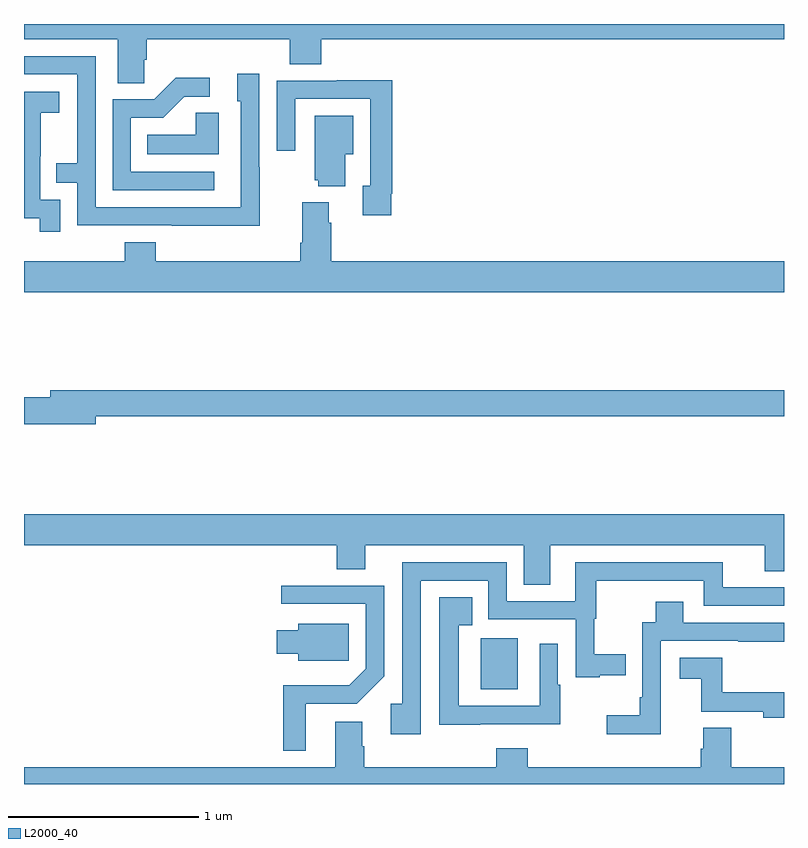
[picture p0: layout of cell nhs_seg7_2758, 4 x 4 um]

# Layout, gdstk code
import gdstk
lib = gdstk.Library(unit=1e-6, precision=1e-09)
def R(c, l, rs):  # rectangles x0, y0, x1, y1
    for r in rs: c.add(gdstk.rectangle(r[:2], r[2:], *l))
def P(c, l, *ps):  # polygons
    for p in ps: c.add(gdstk.Polygon(p, *l))
L2000_40 = (2000, 40)

nhs_seg7_2758 = lib.new_cell('nhs_seg7_2758')
R(nhs_seg7_2758, L2000_40, [(291.404,1026.5,291.598,1026.768)])
P(nhs_seg7_2758, L2000_40, [(289.632,1029.811),(289.646,1029.811),(289.646,1029.92),(290.399,1029.92),(290.399,1029.787),(290.564,1029.787),(290.564,1029.92),(293,1029.92),(293,1030),(289,1030),(289,1029.92),(289.493,1029.92),(289.493,1029.688),(289.632,1029.688)],
  [(290.241,1029.245),(290.238,1029.245),(290.238,1029.739),(290.123,1029.739),(290.123,1029.594),(290.142,1029.594),(290.142,1029.036),(289.377,1029.036),(289.377,1029.831),(289,1029.831),(289,1029.735),(289.281,1029.735),(289.281,1029.266),(289.171,1029.266),(289.171,1029.165),(289.281,1029.165),(289.281,1028.94),(289.777,1028.94),(289.777,1028.939),(290.241,1028.939)],
  [(290.002,1029.222),(289.563,1029.222),(289.563,1029.507),(289.732,1029.507),(289.843,1029.618),(289.978,1029.618),(289.978,1029.716),(289.799,1029.716),(289.686,1029.603),(289.467,1029.603),(289.467,1029.126),(290.002,1029.126)],
  [(290.932,1029.106),(290.939,1029.106),(290.939,1029.704),(290.647,1029.704),(290.647,1029.702),(290.331,1029.702),(290.331,1029.333),(290.427,1029.333),(290.427,1029.606),(290.823,1029.606),(290.823,1029.15),(290.783,1029.15),(290.783,1028.994),(290.932,1028.994)],
  [(289.191,1029.075),(289.086,1029.075),(289.086,1029.305),(289.088,1029.305),(289.088,1029.533),(289.186,1029.533),(289.186,1029.643),(289,1029.643),(289,1028.977),(289.083,1028.977),(289.083,1028.907),(289.191,1028.907)],
  [(290.026,1029.533),(289.905,1029.533),(289.905,1029.418),(289.648,1029.418),(289.648,1029.314),(290.026,1029.314)],
  [(290.692,1029.314),(290.734,1029.314),(290.734,1029.517),(290.531,1029.517),(290.531,1029.177),(290.549,1029.177),(290.549,1029.146),(290.692,1029.146)],
  [(293,1028.752),(290.618,1028.752),(290.618,1028.954),(290.605,1028.954),(290.605,1029.061),(290.465,1029.061),(290.465,1028.848),(290.453,1028.848),(290.453,1028.752),(289.694,1028.752),(289.694,1028.851),(289.529,1028.851),(289.529,1028.752),(289,1028.752),(289,1028.588),(293,1028.588)],
  [(289.378,1027.936),(293,1027.936),(293,1028.072),(289.139,1028.072),(289.139,1028.036),(289,1028.036),(289,1027.894),(289.378,1027.894)],
  [(291.769,1027.256),(292.898,1027.256),(292.898,1027.12),(293,1027.12),(293,1027.42),(289,1027.42),(289,1027.256),(290.645,1027.256),(290.645,1027.129),(290.797,1027.129),(290.797,1027.256),(291.629,1027.256),(291.629,1027.048),(291.769,1027.048)],
  [(291.087,1027.071),(291.444,1027.071),(291.444,1026.867),(291.903,1026.867),(291.903,1026.561),(292.031,1026.561),(292.031,1026.572),(292.168,1026.572),(292.168,1026.682),(292.002,1026.682),(292.002,1026.87),(292.012,1026.87),(292.012,1027.069),(292.235,1027.069),(292.235,1027.071),(292.578,1027.071),(292.578,1026.939),(293,1026.939),(293,1027.035),(292.677,1027.035),(292.677,1027.167),(291.902,1027.167),(291.902,1026.963),(291.54,1026.963),(291.54,1027.167),(290.991,1027.167),(290.991,1026.422),(290.931,1026.422),(290.931,1026.261),(291.087,1026.261)],
  [(290.482,1026.423),(290.752,1026.423),(290.895,1026.566),(290.895,1027.044),(290.355,1027.044),(290.355,1026.948),(290.799,1026.948),(290.799,1026.606),(290.713,1026.52),(290.365,1026.52),(290.365,1026.174),(290.482,1026.174)],
  [(291.401,1026.315),(291.823,1026.315),(291.823,1026.522),(291.81,1026.522),(291.81,1026.739),(291.714,1026.739),(291.714,1026.411),(291.289,1026.411),(291.289,1026.836),(291.359,1026.836),(291.359,1026.982),(291.185,1026.982),(291.185,1026.313),(291.401,1026.313)],
  [(292.352,1026.753),(292.759,1026.753),(292.759,1026.748),(293,1026.748),(293,1026.849),(292.471,1026.849),(292.471,1026.958),(292.324,1026.958),(292.324,1026.852),(292.254,1026.852),(292.254,1026.457),(292.242,1026.457),(292.242,1026.362),(292.068,1026.362),(292.068,1026.263),(292.352,1026.263)],
  [(290.709,1026.844),(290.444,1026.844),(290.444,1026.808),(290.33,1026.808),(290.33,1026.686),(290.444,1026.686),(290.444,1026.65),(290.709,1026.65)],
  [(293,1026.482),(292.675,1026.482),(292.675,1026.664),(292.452,1026.664),(292.452,1026.554),(292.565,1026.554),(292.565,1026.381),(292.892,1026.381),(292.892,1026.35),(293,1026.35)],
  [(293,1026.088),(292.722,1026.088),(292.722,1026.296),(292.574,1026.296),(292.574,1026.186),(292.562,1026.186),(292.562,1026.088),(291.65,1026.088),(291.65,1026.187),(291.485,1026.187),(291.485,1026.088),(290.792,1026.088),(290.792,1026.2),(290.779,1026.2),(290.779,1026.328),(290.639,1026.328),(290.639,1026.088),(289,1026.088),(289,1026),(293,1026)])

lib.write_gds('nhs_seg7_2758.gds')
